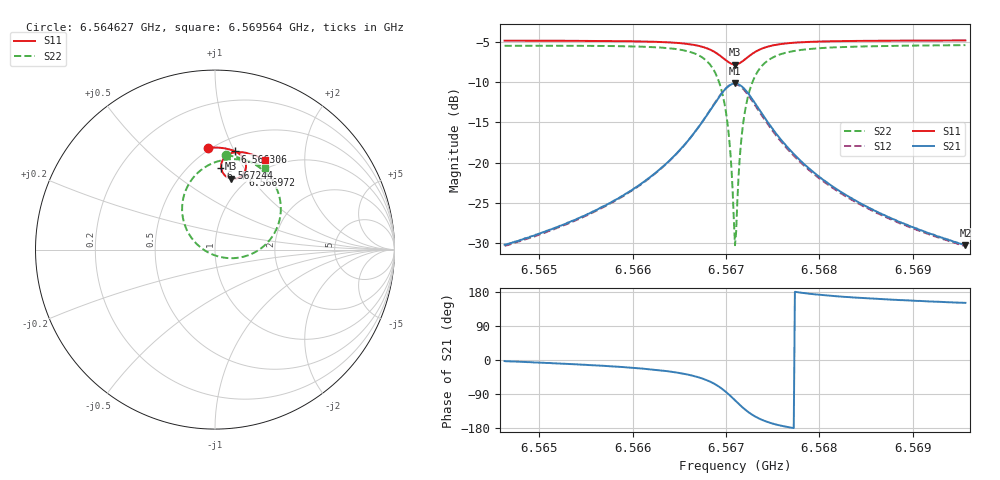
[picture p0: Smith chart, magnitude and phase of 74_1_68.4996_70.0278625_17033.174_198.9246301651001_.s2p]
#  HZ  S  RI  R  50.00
! Rohde & Schwarz Vector Network Analyzer
! Rohde-Schwarz,ZNB20-2Port,1311601062101988,3.16
! Created: UTC 3/20/2024, 4:51:52 PM
! freq[Hz]  re:S11  im:S11  re:S21  im:S21  re:S12  im:S12  re:S22  im:S22
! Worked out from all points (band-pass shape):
!   401 points, 6.564627 GHz to 6.569564 GHz, reference 50 ohm
!   highest |S21| = -10.20 dB at 6.567095 GHz (marker M1); lowest = -30.2 dB at 6.569564 GHz (marker M2)
!   |S21| within 3 dB of the highest: 6.566848 GHz to 6.567342 GHz (493.9 kHz wide, 0.00752 % of centre)
!   lowest |S11| = -7.9 dB at 6.567095 GHz (marker M3), VSWR 2.36, Z = 42.3 + j40 ohm
!   |S11| at or under -10 dB: nowhere
!   |S22| runs from -30.2 to -5.4 dB; largest |S21 - S12| = 0.016
!   S11 on the Smith chart (normalised r, x): 6.564627 GHz: 0.48, +0.81; 6.566306 GHz: 0.63, +1.01; 6.566972 GHz: 0.90, +0.93; 6.567244 GHz: 0.70, +0.80; 6.569564 GHz: 0.88, +1.30
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6.5646271e9  -0.0409 0.568  0.031 -0.00153  0.0304 -0.00215  0.0622 0.5256
6.565454e9  0.0284 0.5673  0.0451 -0.00985  0.0443 -0.0103  0.1452 0.5086
6.5662809e9  0.1095 0.5484  0.0803 -0.0408  0.0792 -0.0417  0.2661 0.4432
6.5663056e9  0.1124 0.5472  0.082 -0.0428  0.0808 -0.044  0.2711 0.4389
6.5665771e9  0.1462 0.5242  0.1054 -0.082  0.1036 -0.0837  0.3322 0.3622
6.5667746e9  0.1696 0.4868  0.1176 -0.1481  0.1147 -0.1514  0.3666 0.2344
6.5668857e9  0.1712 0.4499  0.1019 -0.2131  0.0958 -0.2174  0.3407 0.1102
6.5669721e9  0.1532 0.4153  0.0531 -0.2719  0.0426 -0.2751  0.2494 0.00181
6.5670338e9  0.1245 0.3972  -0.00998 -0.3  -0.0237 -0.2993  0.132 -0.0451
6.5670832e9  0.0951 0.3942  -0.0719 -0.3004  -0.0859 -0.2947  0.0207 -0.039
6.5670955e9  0.0874 0.3954  -0.0873 -0.2966  -0.1012 -0.2897  -0.00657 -0.0301
6.5671078e9  0.08 0.3976  -0.1022 -0.2913  -0.1155 -0.2832  -0.0324 -0.0186
6.5671202e9  0.0731 0.4007  -0.1165 -0.2845  -0.1291 -0.2754  -0.0568 -0.00481
6.5671449e9  0.0604 0.4085  -0.1426 -0.2676  -0.1532 -0.2563  -0.0999 0.0295
6.5671695e9  0.05 0.4188  -0.1638 -0.2466  -0.1724 -0.2341  -0.1339 0.0694
6.5672066e9  0.0393 0.4363  -0.1864 -0.2115  -0.1916 -0.1982  -0.1672 0.1344
6.5672436e9  0.0345 0.4542  -0.1982 -0.1761  -0.2005 -0.1631  -0.1818 0.1979
6.5673423e9  0.0407 0.4942  -0.195 -0.0988  -0.1928 -0.0893  -0.1624 0.332
6.5674904e9  0.0681 0.5264  -0.1599 -0.0362  -0.1564 -0.0309  -0.0868 0.4363
6.5679224e9  0.136 0.5437  -0.0881 0.00917  -0.0859 0.0106  0.0705 0.5025
6.5687493e9  0.2174 0.526  -0.0429 0.0159  -0.0419 0.0162  0.2028 0.4878
6.5695639e9  0.2796 0.498  -0.0269 0.015  -0.0263 0.0152  0.2797 0.4553
